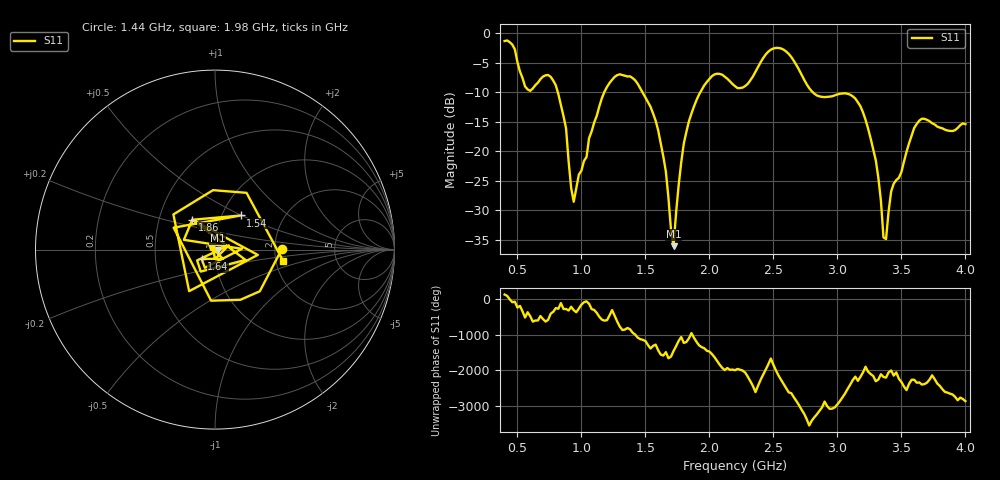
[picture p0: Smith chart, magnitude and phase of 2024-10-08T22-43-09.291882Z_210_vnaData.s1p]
! Created with skrf (http://scikit-rf.org).
# Hz S RI R 50.0
!freq ReS11 ImS11
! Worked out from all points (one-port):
!   181 points, 400 MHz to 4 GHz, reference 50 ohm
!   lowest |S11| = -36.0 dB at 1.72 GHz (marker M1), VSWR 1.03, Z = 51.5 - j0.47 ohm
!   |S11| at or under -10 dB: 815.5 MHz to 1.179 GHz (363.1 MHz wide, 36.4 % of centre); 1.478 GHz to 1.929 GHz (451.5 MHz wide, 26.5 % of centre); 2.808 GHz to end of sweep
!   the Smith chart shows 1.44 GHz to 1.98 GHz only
!   S11 on the Smith chart (normalised r, x): 1.44 GHz: 2.19, +0.01; 1.54 GHz: 1.23, +0.49; 1.64 GHz: 0.86, -0.09; 1.86 GHz: 0.74, +0.26; 1.98 GHz: 2.19, -0.33
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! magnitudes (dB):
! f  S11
! 400 MHz  -1.3
! 480 MHz  -2.7
! 580 MHz  -9.5
! 760 MHz  -7.4
! 860 MHz  -14.0
! 940 MHz  -28.5
! 1.16 GHz  -11.0
! 1.3 GHz  -7.0
! 1.44 GHz  -8.6
! 1.54 GHz  -12.5
! 1.64 GHz  -20.9
! 1.72 GHz  -36.0
! 1.76 GHz  -25.7
! 1.86 GHz  -13.6
! 1.98 GHz  -8.3
! 2.2 GHz  -9.0
! 2.5 GHz  -2.6
! 2.66 GHz  -4.7
! 2.84 GHz  -10.6
! 3.1 GHz  -10.4
! 3.2 GHz  -13.4
! 3.3 GHz  -21.5
! 3.36 GHz  -34.6
! 3.38 GHz  -34.8
! 3.42 GHz  -26.8
! 3.56 GHz  -18.6
! 3.66 GHz  -14.5
! 4 GHz  -15.4
